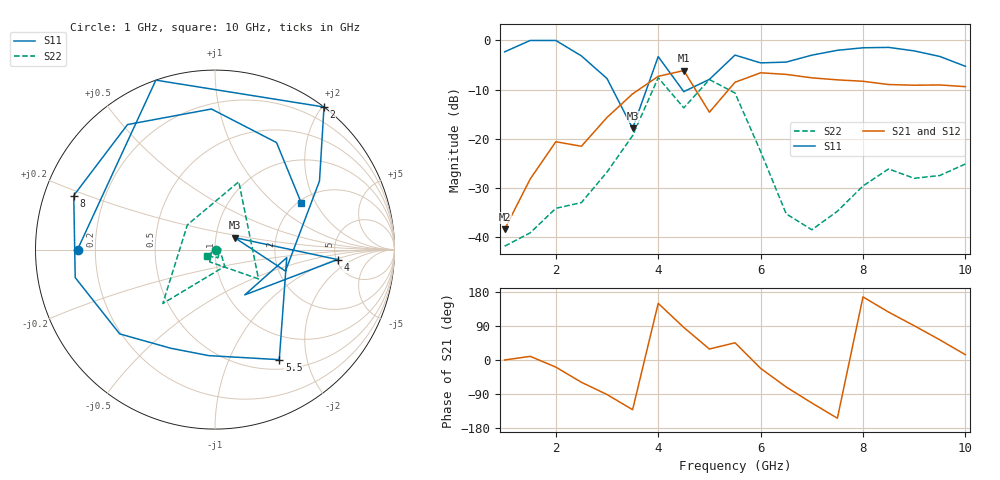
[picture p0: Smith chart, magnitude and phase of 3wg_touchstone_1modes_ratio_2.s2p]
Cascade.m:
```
clear;

% M = 10; % Number of elements in between the first and last waveguide

% r = linspace(0.02, 0.03, 10);

L = 0.02; % Length of each waveguide section

F = 1e9:0.5e9:10e9; % Frequency of operation

% rt = 0.0405319403216/1.9;
% rp = 0.0405319403216/2; % radius of the waveguide
% rr = 0.0405319403216/2.1;
% rd = 2.2e-2;


rr = 0.0405319403216/1.9;
rp = 0.0405319403216/1.9 * 2; % radius of the waveguide
rt = 0.0405319403216/1.9 * 4;

r = [rr rp rt];

%% Inner Cross Product of First junction (smaller dimension)

% Nr = 1:1:5; % number of modes on R waveguide
% Np = 1:1:5; % number of modes on PRic Ocasek waveguide

N1 = 1:1:10; % number of modes on 1st waveguide
N2 = 1:1:40; % number of modes on 2nd waveguide

erp = 1;
err = 1;
murp = 1;
murr = 1;

% [X_til_rp] = Inner_p(Nr, Np, rp, rr, erp, murp, err, murr);
[X_til_rp] = Inner_p(N1, N2, r(2), r(1), erp, murp, err, murr);

%% Inner Cross Product of Last junction (larger dimension)


% Np = 1:1:30; % number of modes on R waveguide
% Nt = 1:1:30; % number of modes on P waveguide

Ns = 1:1:40; % number of modes on last but one waveguide
Ne = 1:1:160; % number of modes on last waveguide

ert = 1;
erp = 1;
murt = 1;
murp = 1;

% [X_til_pt] = Inner_p(Np, Nt, rt, rp, ert, murt, erp, murp);

[X_til_pt] = Inner_p(Ns, Ne, r(end), r(end - 1), ert, murt, erp, murp);

%% Frequency dependent terms:
parfor k = 1:length(F)

disp('Iteration: ');
disp(k);

% [S33, S34, S43, S44] = GSM(Nr, Np, F(k), rp, rr, erp, murp, err, murr, X_til_rp);
% [S11, S12, S21, S22] = GSM(Np, Nt, F(k), rt, rp, erp, murp, err, murr, X_til_pt);


[S33, S34, S43, S44] = GSM(N1, N2, F(k), r(2), r(1), erp, murp, err, murr, X_til_rp);
[S11, S12, S21, S22] = GSM(Ns, Ne, F(k), r(end), r(end - 1), erp, murp, err, murr, X_til_pt);


Sl = SL(rp, F(k), Ns, L);

   

%   Sl = Sl * SL(rp, F(k), Np, L);
%  [Slr] = SL(rr, F(k), Nr, L);
%  [Slt] = SL(rt, F(k), Nt, L);
 
 [Slr] = SL(r(1), F(k), N1, L);
 [Slt] = SL(r(end), F(k), Ne, L);
%  
% Sl = Slr * Slp * Slt;

% I = eye(length(Np), length(Np));

I = eye(length(N2), length(N2));

U1 = inv(I - S22 * Sl * S33 * Sl);
U2 = inv(I - S33 * Sl * S22 * Sl);

STT(k, :, :) = Slt * (S11 + S12 * Sl * U2 * S33 * Sl * S21) * Slt;
STR(k, :, :) = Slt * (S12 * Sl * U2 * S34) * Slr;
SRT(k, :, :) = Slr * (S43 * Sl * U1 * S21) * Slt;
SRR(k, :, :) = Slr * (S44 + S43 * Sl * U1 * S22 * Sl * S34) * Slr;

% STT(k, :, :) = (S11 + S12 * Sl * U2 * S33 * Sl * S21);
% STR(k, :, :) = (S12 * Sl * U2 * S34);
% SRT(k, :, :) = (S43 * Sl * U1 * S21);
% SRR(k, :, :) = (S44 + S43 * Sl * U1 * S22 * Sl * S34);


end
%% Plots


data5 = read(rfdata.data,'3wg_touchstone_1modes_ratio_2.s2p');
s_params_5 = extract(data5,'S_PARAMETERS');

%% 

figure(1);

% plot(F * 1e-9, db(abs(squeeze(s_params_5(1, 1, :))))/2, 'LineWidth', 2); grid on;
hold on;
plot(F * 1e-9, db(abs(squeeze(STT(:, 1, 1))))/2, 'LineWidth', 2); grid on;


figure(2);

% plot(F * 1e-9, (angle(squeeze(s_params_5(1, 1, :)))) * 180/pi, 'LineWidth', 2); grid on;
hold on;
plot(F * 1e-9, (angle(squeeze(STT(:, 1, 1)))) * 180/pi, 'LineWidth', 2); grid on;

% save('Stt3_ratio_1_modes_5_1mm_beta_z', 'STT');
% save('Str3_ratio_1_modes_5_1mm_beta_z', 'STR');
% save('Srt3_ratio_1_modes_5_1mm_beta_z', 'SRT');
% save('Srr3_ratio_1_modes_5_1mm_beta_z', 'SRR');
```
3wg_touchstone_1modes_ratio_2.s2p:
! S-parameter export from POSTFEKO
! Filename: circular_3wg_1_modes_ratio_2
! Creation date: 2020-01-25 10:01:35
# Hz S MA R  5.0000000E+01
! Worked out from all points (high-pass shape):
!   19 points, 1 GHz to 10 GHz, reference 50 ohm
!   highest |S21| = -6.12 dB at 4.5 GHz (marker M1); lowest = -38.4 dB at 1 GHz (marker M2)
!   |S21| within 3 dB of the highest: 3.744 GHz to 4.677 GHz (933.6 MHz wide, 22.2 % of centre); 5.449 GHz to 9.612 GHz (4.162 GHz wide, 55.3 % of centre)
!   lowest |S11| = -17.9 dB at 3.5 GHz (marker M3), VSWR 1.29, Z = 61.6 + j8.39 ohm
!   |S11| at or under -10 dB: 3.112 GHz to 3.77 GHz (658.1 MHz wide, 19.1 % of centre); 4.472 GHz to 4.581 GHz (109 MHz wide, 2.41 % of centre)
!   |S22| runs from -41.8 to -7.6 dB; largest |S21 - S12| = 1.4e-05
!   S11 on the Smith chart (normalised r, x): 1 GHz: 0.13, -0.00; 2 GHz: -0.00, +2.02; 4 GHz: 5.12, -1.07; 5.5 GHz: 0.63, -1.56; 8 GHz: 0.09, +0.18; 10 GHz: 2.08, +1.54
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1e9  0.766 -180.0  0.01204 -0.0  0.01204 0.0  0.008114 -0.0
1.5e9  1 109.2  0.03906 9.6  0.03906 9.6  0.01109 -3.9
2e9  1 52.6  0.09345 -18.7  0.09345 -18.7  0.01967 -12.8
3.5e9  0.1278 31.6  0.2865 -131.1  0.2865 -131.1  0.1077 -59.9
4e9  0.6851 -4.6  0.4319 149.5  0.4319 149.5  0.4182 -134.1
4.5e9  0.3019 -56.7  0.4943 85.9  0.4943 85.9  0.2067 138.1
5.5e9  0.7101 -59.7  0.3758 45.5  0.3758 45.5  0.2923 -34.0
6.5e9  0.6026 -114.3  0.452 -71.3  0.452 -71.3  0.01731 178.4
8e9  0.8427 159.0  0.3848 166.6  0.3848 166.6  0.03322 6.1
9e9  0.7836 91.4  0.3509 90.5  0.3509 90.5  0.03969 -83.5
1e10  0.5465 28.4  0.3393 14.0  0.3393 14.0  0.05551 -139.3
